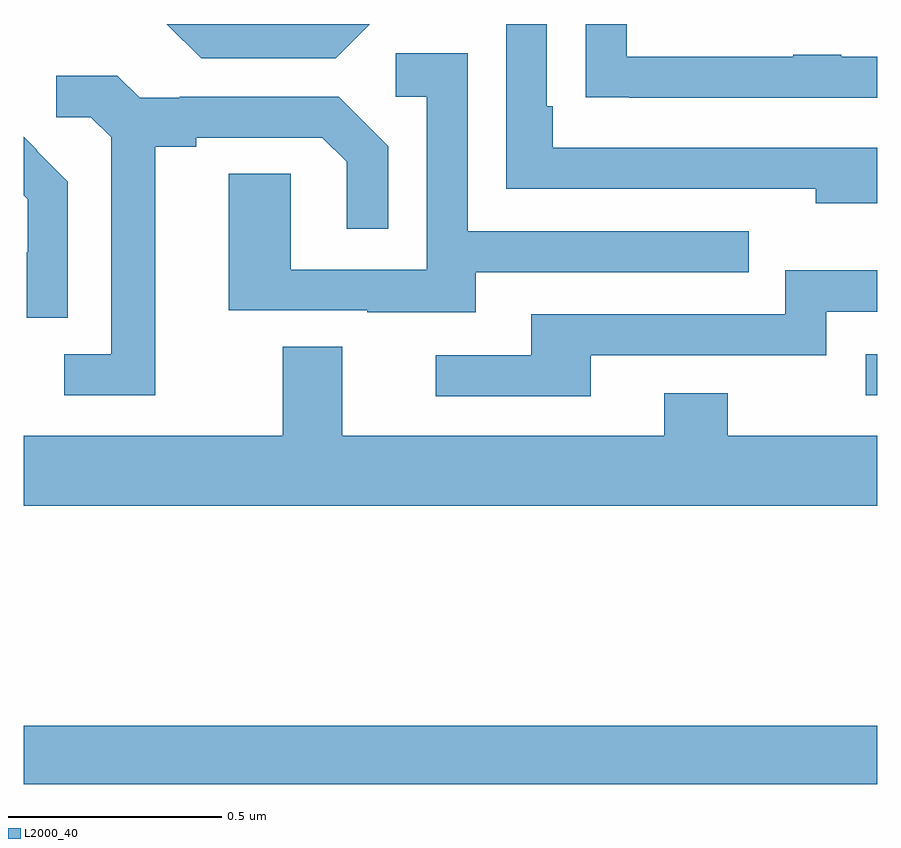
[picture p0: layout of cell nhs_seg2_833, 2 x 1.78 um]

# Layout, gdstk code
import gdstk
lib = gdstk.Library(unit=1e-6, precision=1e-09)
def R(c, l, rs):  # rectangles x0, y0, x1, y1
    for r in rs: c.add(gdstk.rectangle(r[:2], r[2:], *l))
def P(c, l, *ps):  # polygons
    for p in ps: c.add(gdstk.Polygon(p, *l))
L2000_40 = (2000, 40)

nhs_seg2_833 = lib.new_cell('nhs_seg2_833')
R(nhs_seg2_833, L2000_40, [(121,611.02,123,611.156), (122.973,611.931,123,612.027)])
P(nhs_seg2_833, L2000_40, [(121.811,612.8),(121.336,612.8),(121.416,612.72),(121.731,612.72)],
  [(123,612.51),(122.239,612.51),(122.239,612.607),(122.226,612.607),(122.226,612.8),(122.13,612.8),(122.13,612.414),(122.855,612.414),(122.855,612.38),(123,612.38)],
  [(123,612.723),(122.915,612.723),(122.915,612.728),(122.803,612.728),(122.803,612.723),(122.413,612.723),(122.413,612.8),(122.317,612.8),(122.317,612.628),(122.419,612.628),(122.419,612.627),(123,612.627)],
  [(122.059,612.219),(122.699,612.219),(122.699,612.315),(122.04,612.315),(122.04,612.731),(121.872,612.731),(121.872,612.63),(121.944,612.63),(121.944,612.225),(121.626,612.225),(121.626,612.449),(121.481,612.449),(121.481,612.129),(121.805,612.129),(121.805,612.125),(122.059,612.125)],
  [(121.309,612.512),(121.405,612.512),(121.405,612.534),(121.7,612.534),(121.757,612.477),(121.757,612.321),(121.854,612.321),(121.854,612.514),(121.738,612.63),(121.366,612.63),(121.366,612.627),(121.272,612.627),(121.22,612.679),(121.077,612.679),(121.077,612.582),(121.158,612.582),(121.205,612.535),(121.205,612.027),(121.095,612.027),(121.095,611.931),(121.309,611.931)],
  [(121.104,612.43),(121.031,612.503),(121.032,612.504),(121,612.536),(121,612.399),(121.01,612.389),(121.01,612.266),(121.008,612.266),(121.008,612.112),(121.104,612.112)],
  [(122.329,612.024),(122.88,612.024),(122.88,612.126),(123,612.126),(123,612.223),(122.784,612.223),(122.784,612.12),(122.189,612.12),(122.189,612.024),(121.965,612.024),(121.965,611.928),(122.329,611.928)],
  [(123,611.836),(122.649,611.836),(122.649,611.935),(122.501,611.935),(122.501,611.836),(121.747,611.836),(121.747,612.044),(121.607,612.044),(121.607,611.836),(121,611.836),(121,611.672),(123,611.672)])

lib.write_gds('nhs_seg2_833.gds')
